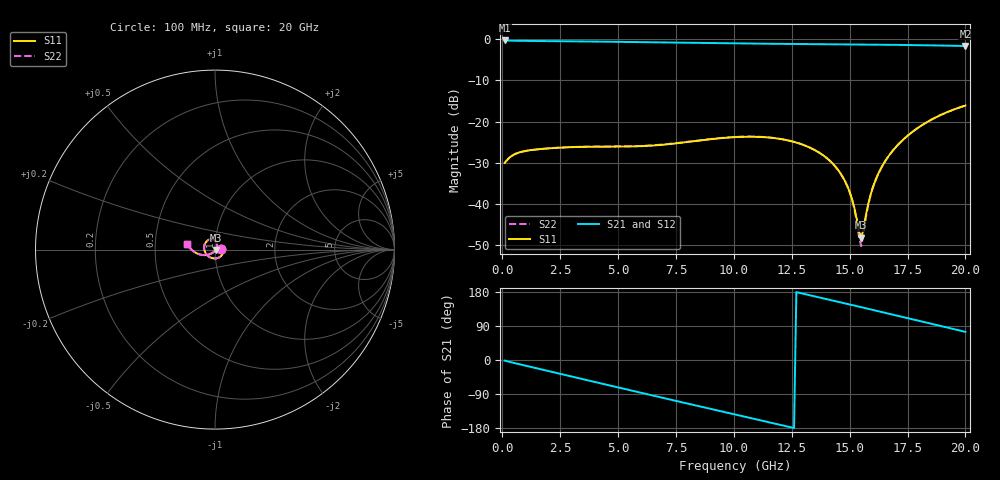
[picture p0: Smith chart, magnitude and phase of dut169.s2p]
! Touchstone file exported from HFSS 2026.1.0
!  File:  C:/ffzhzh/LocalFiles/Ansys_Project_Files/temp_train_TSV_RDL_169_1783055146_17544.aedt
!  Generated:  01:18:51 PM Jul  3, 2026
!  Design:  TSV_RDL
!  Project:  temp_train_TSV_RDL_169_1783055146_17544
! Variables:
!  h_bsmrdl = 4.15um
!  h_ox = 20um
!  h_rdl = 5um
!  h_sub = 99.04um
!  h_tmrdl = 2.82um
!  h_tsv = 99.04um
!  h_via = 3um
!  l_bsmrdl = 892.91um
!  l_sub = 4160.78um
!  l_tmrdl = 235.75um
!  m_sub = 200um
!  pitch = 28.31um
!  r_tsv = 2.13um
!  s_tmrdl = 10um
!  w_bsmrdl = 26.26um
!  w_sub = 500um
!  w_tmrdl = 20.09um
!  x_tsv_center1 = 245.795um
!  x_tsv_center2 = 1164.965um
!  x_tsv_center3 = 1420.805um
!  x_tsv_center4 = 2339.975um
!  x_tsv_center5 = 2595.815um
!  x_tsv_center6 = 3514.985um
# GHz S MA R 50.000000
! Terminal data exported
! Port[1] = TM_RDL1_1_T1
! Port[2] = TM_RDL5_1_T1
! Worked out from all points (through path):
!   200 points, 100 MHz to 20 GHz, reference 50 ohm
!   highest |S21| = -0.27 dB at 100 MHz (marker M1); lowest = -1.6 dB at 20 GHz (marker M2)
!   group delay of S21, straight-line fit = 39.4 ps
!   lowest |S11| = -48.2 dB at 15.5 GHz (marker M3), VSWR 1.01, Z = 50.3 - j0.238 ohm
!   |S11| at or under -10 dB: start of sweep to end of sweep
!   |S22| runs from -50.3 to -16.1 dB; largest |S21 - S12| = 3.6e-14
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0.1  0.03134 5.7  0.9689 -1.7  0.9689 -1.7  0.03134 5.7
! Gamma 0 0 0 0
! Port Impedance 50 0 50 0
0.9  0.0433 -1.0  0.9573 -13.5  0.9573 -13.5  0.04331 -1.0
2.2  0.0476 -21.8  0.9503 -32.2  0.9503 -32.2  0.04765 -21.8
3.5  0.04929 -45.9  0.9429 -50.9  0.9429 -50.9  0.04941 -45.9
5.2  0.04959 -85.9  0.9312 -75.2  0.9312 -75.2  0.04985 -85.9
6.8  0.05183 -130.1  0.9188 -98.0  0.9188 -98.0  0.05219 -129.8
8.4  0.05825 -173.1  0.9058 -120.6  0.9058 -120.6  0.05861 -172.7
10.1  0.06478 147.5  0.8926 -144.5  0.8926 -144.5  0.06506 148.1
11.8  0.06262 113.8  0.8815 -168.3  0.8815 -168.3  0.06279 114.5
13.4  0.04647 84.4  0.8735 169.2  0.8735 169.2  0.04654 85.5
14.2  0.03223 69.0  0.8701 157.9  0.8701 157.9  0.03223 70.6
14.8  0.01888 54.4  0.8676 149.4  0.8676 149.4  0.01878 57.0
15.2  0.009043 34.5  0.8659 143.7  0.8659 143.7  0.00876 39.6
15.4  0.004691 1.1  0.865 140.8  0.865 140.8  0.004061 8.2
15.5  0.00387 -37.8  0.8645 139.4  0.8645 139.4  0.00305 -37.9
15.8  0.009858 -106.6  0.8631 135.1  0.8631 135.1  0.009556 -111.0
16  0.01574 -118.6  0.8621 132.2  0.8621 132.2  0.01555 -121.4
16.3  0.02521 -128.6  0.8605 127.9  0.8605 127.9  0.0251 -130.4
16.7  0.03859 -137.9  0.8582 122.1  0.8582 122.1  0.03854 -138.9
17.3  0.05982 -149.1  0.8542 113.5  0.8542 113.5  0.05982 -149.7
18.1  0.08934 -162.3  0.848 101.8  0.848 101.8  0.08938 -162.7
20  0.1565 168.7  0.8295 74.3  0.8295 74.3  0.1566 168.7
